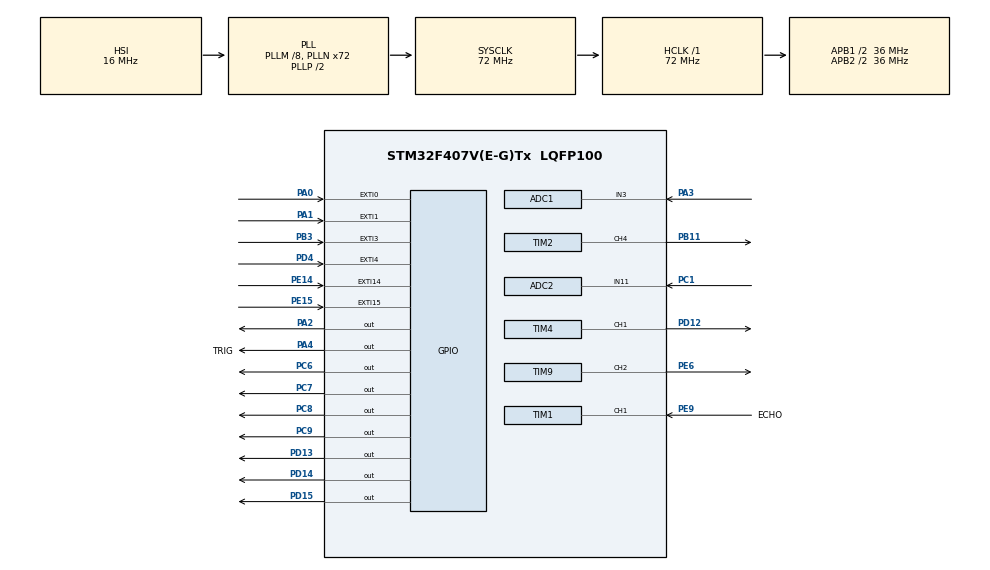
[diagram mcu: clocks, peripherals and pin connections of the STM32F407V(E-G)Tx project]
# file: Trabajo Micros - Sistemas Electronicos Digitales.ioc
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ADC1.Channel-3\#ChannelRegularConversion=ADC_CHANNEL_3
ADC1.NbrOfConversionFlag=1
ADC1.Rank-3\#ChannelRegularConversion=1
ADC1.Resolution=ADC_RESOLUTION_8B
ADC1.SamplingTime-3\#ChannelRegularConversion=ADC_SAMPLETIME_3CYCLES
ADC1.master=1
ADC2.Channel-0\#ChannelRegularConversion=ADC_CHANNEL_11
ADC2.NbrOfConversionFlag=1
ADC2.Rank-0\#ChannelRegularConversion=1
ADC2.Resolution=ADC_RESOLUTION_8B
ADC2.SamplingTime-0\#ChannelRegularConversion=ADC_SAMPLETIME_3CYCLES
Mcu.Family=STM32F4
Mcu.Name=STM32F407V(E-G)Tx
Mcu.Package=LQFP100
NVIC.ADC_IRQn=true\:0\:0\:false\:false\:true\:true\:true
NVIC.EXTI0_IRQn=true\:0\:0\:false\:false\:true\:true\:true
NVIC.EXTI15_10_IRQn=true\:0\:0\:false\:false\:true\:true\:true
NVIC.EXTI1_IRQn=true\:0\:0\:false\:false\:true\:true\:true
NVIC.EXTI3_IRQn=true\:0\:0\:false\:false\:true\:true\:true
NVIC.EXTI4_IRQn=true\:0\:0\:false\:false\:true\:true\:true
NVIC.PriorityGroup=NVIC_PRIORITYGROUP_4
NVIC.TIM1_CC_IRQn=true\:0\:0\:false\:false\:true\:true\:true
PA0-WKUP.Signal=GPXTI0
PA1.Signal=GPXTI1
PA13.Mode=Serial_Wire
PA13.Signal=SYS_JTMS-SWDIO
PA14.Mode=Serial_Wire
PA14.Signal=SYS_JTCK-SWCLK
PA2.Signal=GPIO_Output
PA3.Signal=ADCx_IN3
PA4.GPIO_Label=TRIG
PA4.Signal=GPIO_Output
PA6.Signal=S_TIM3_CH1
PB11.Signal=S_TIM2_CH4
PB3.Signal=GPXTI3
PC1.Signal=ADCx_IN11
PC6.Signal=GPIO_Output
PC7.Signal=GPIO_Output
PC8.Signal=GPIO_Output
PC9.Signal=GPIO_Output
PD12.Signal=S_TIM4_CH1
PD13.Signal=GPIO_Output
PD14.Signal=GPIO_Output
PD15.Signal=GPIO_Output
PD4.Signal=GPXTI4
PE14.Signal=GPXTI14
PE15.Signal=GPXTI15
PE6.Signal=S_TIM9_CH2
PE9.GPIO_Label=ECHO
PE9.Signal=S_TIM1_CH1
PH0-OSC_IN.Mode=HSE-External-Oscillator
PH0-OSC_IN.Signal=RCC_OSC_IN
PH1-OSC_OUT.Mode=HSE-External-Oscillator
PH1-OSC_OUT.Signal=RCC_OSC_OUT
ProjectManager.HeapSize=0x200
ProjectManager.StackSize=0x400
ProjectManager.TargetToolchain=STM32CubeIDE
RCC.48MHZClocksFreq_Value=36000000
RCC.AHBFreq_Value=72000000
RCC.APB1CLKDivider=RCC_HCLK_DIV2
RCC.APB1Freq_Value=36000000
RCC.APB1TimFreq_Value=72000000
RCC.APB2CLKDivider=RCC_HCLK_DIV2
RCC.APB2Freq_Value=36000000
RCC.APB2TimFreq_Value=72000000
RCC.CortexFreq_Value=72000000
RCC.HCLKFreq_Value=72000000
RCC.HSE_VALUE=8000000
RCC.HSI_VALUE=16000000
RCC.LSE_VALUE=32768
RCC.PLLM=8
RCC.PLLN=72
RCC.SYSCLKFreq_VALUE=72000000
RCC.SYSCLKSource=RCC_SYSCLKSOURCE_PLLCLK
RCC.VCOOutputFreq_Value=144000000
SH.ADCx_IN11.0=ADC2_IN11,IN11
SH.ADCx_IN3.0=ADC1_IN3,IN3
SH.S_TIM1_CH1.0=TIM1_CH1,Input_Capture1_from_TI1
SH.S_TIM2_CH4.0=TIM2_CH4,PWM Generation4 CH4
SH.S_TIM3_CH1.0=TIM3_CH1
SH.S_TIM4_CH1.0=TIM4_CH1,PWM Generation1 CH1
SH.S_TIM9_CH2.0=TIM9_CH2,PWM Generation2 CH2
TIM1.AutoReloadPreload=TIM_AUTORELOAD_PRELOAD_ENABLE
TIM1.Channel-Input_Capture1_from_TI1=TIM_CHANNEL_1
TIM1.Prescaler=50
TIM2.Channel-PWM\ Generation4\ CH4=TIM_CHANNEL_4
TIM2.Period=2000
TIM2.Prescaler=72-1
TIM2.Pulse-PWM\ Generation4\ CH4=500
TIM4.Channel-PWM\ Generation1\ CH1=TIM_CHANNEL_1
TIM4.Period=20000
TIM4.Prescaler=72
TIM4.Pulse-PWM\ Generation1\ CH1=500
TIM6.Period=0xffff-1
TIM6.Prescaler=50-1
TIM9.Channel-PWM\ Generation2\ CH2=TIM_CHANNEL_2
TIM9.Period=100-1
TIM9.Prescaler=36-1
VP_TIM2_VS_ClockSourceINT.Mode=Internal
VP_TIM4_VS_ClockSourceINT.Mode=Internal
VP_TIM6_VS_ClockSourceINT.Mode=Enable_Timer
VP_TIM9_VS_ClockSourceINT.Mode=Internal
board=custom

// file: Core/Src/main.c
/* USER CODE BEGIN Header */
/**
  ******************************************************************************
  * @file           : main.c
  * @brief          : Main program body
  ******************************************************************************
  * @attention
  *
  * <h2><center>&copy; Copyright (c) 2021 STMicroelectronics.
  * All rights reserved.</center></h2>
  *
  * This software component is licensed by ST under BSD 3-Clause license,
  * the "License"; You may not use this file except in compliance with the
  * License. You may obtain a copy of the License at:
  *                        opensource.org/licenses/BSD-3-Clause
  *
  ******************************************************************************
  */
/* USER CODE END Header */
#include "main.h"

/* USER CODE BEGIN Includes */
//#include "i2c-lcd.h"
//#include "dht11.h"
#include "stdio.h"
/* USER CODE END Includes */

ADC_HandleTypeDef hadc1;
ADC_HandleTypeDef hadc2;

TIM_HandleTypeDef htim1;
TIM_HandleTypeDef htim2;
TIM_HandleTypeDef htim4;
TIM_HandleTypeDef htim6;
TIM_HandleTypeDef htim9;

/* USER CODE BEGIN PV */
//---------------------------------------------VARIABLES VENTILADOR
volatile int16_t ADC_val;
//--------------------------------------------VARIABLES GARAGE
#define RANGE  11.1   // 2000/180
uint32_t timegarage, waitgarage;
int anglegarage=90 , aperture=0 , sense=0;
float servoinput=0;
volatile int but3=0,but4=0;
volatile int but1=0,but2=0;
int state_light=0;
int mode_light=0;
volatile uint16_t ADC_vali=100;
//--------------------------------------------VARIABLES CAMARA_SEGURIDAD
volatile int flag;
int timer;
int angulo1;
int angulo2;
int t1=0;
int t2=0;
int tiempo_comienzo_interrupcion=0;
int tiempo_final_interrupcion=0;
int tiempo_total_interrupcion=0;
int n=0;
int bit_trabajo=1;
int desactivar_alarma=0;
/* USER CODE END PV */

void SystemClock_Config(void);
static void MX_GPIO_Init(void);
static void MX_TIM6_Init(void);
static void MX_TIM2_Init(void);
static void MX_TIM1_Init(void);
static void MX_TIM4_Init(void);
static void MX_ADC2_Init(void);
static void MX_ADC1_Init(void);
static void MX_TIM9_Init(void);

/* USER CODE BEGIN 0 */

//-------------------------------------------------------INTERRUPCIONES ADC
void HAL_ADC_ConvCpltCallback(ADC_HandleTypeDef* hadc)  //FUNCIONAMIENTO POTENCIOMETRO
{
	if(hadc->Instance == ADC1)
	{
		ADC_val =HAL_ADC_GetValue(&hadc1);
	    //HAL_ADC_Stop_IT(&hadc1);
	}
	if (hadc->Instance == ADC2)
	{
		 ADC_vali = HAL_ADC_GetValue(&hadc2);
	}
}

void Ventilador()
{
	  HAL_ADC_Start_IT(&hadc1);
	  htim9.Instance->CCR2 = (ADC_val*100)/255;
}

//-------------------------------------------------------INTERRUPCIONES BOTONES
void HAL_GPIO_EXTI_Callback(uint16_t GPIO_Pin)
{
	 if(GPIO_Pin == GPIO_PIN_0)
	 {
		 but3=1;
	 }
	 if(GPIO_Pin == GPIO_PIN_1)
	 {
		 but4=1;
	 }
	 if(GPIO_Pin == GPIO_PIN_15)
	 {
	 	but1=1;
	 }
	 if(GPIO_Pin == GPIO_PIN_14)
	 {
	 	but2=1;
	 }
	 if(GPIO_Pin==GPIO_PIN_3)
	 {
		if   (flag == 1) {flag = 0;}
		else             {flag = 1;}
	 }
	 if(GPIO_Pin==GPIO_PIN_4)
	 {
		 desactivar_alarma = 1;
	 }
}

int debouncerbut3(volatile int* button_int, GPIO_TypeDef* GPIO_Port, uint16_t GPIO_number)
{
	static uint8_t button_count = 0;
	static int counter = 0;

	if (*button_int == 1)
	{
		if (button_count == 0)
		{
			counter = HAL_GetTick();
			button_count++;
		}
		if (HAL_GetTick() - counter >= 20)
		{
			counter = HAL_GetTick();
			if (HAL_GPIO_ReadPin(GPIO_Port, GPIO_number) != 1)
			{
				button_count = 1;
			}
			else
				button_count++;
			if (button_count == 4)
			{ //Periodo Antirrebotes
				button_count = 0;
				*button_int = 0;
				return 1;
			}
		}
	}
	return 0;
}

int debouncerbut4(volatile int* button_int, GPIO_TypeDef* GPIO_Port, uint16_t GPIO_number)
{
	static uint8_t button_count = 0;
	static int counter = 0;

	if (*button_int == 1)
	{
		if (button_count == 0)
		{
			counter = HAL_GetTick();
			button_count++;
		}
		if (HAL_GetTick() - counter >= 20)
		{
			counter = HAL_GetTick();
			if (HAL_GPIO_ReadPin(GPIO_Port, GPIO_number) != 1)
			{
				button_count = 1;
			}
			else
				button_count++;
			if (button_count == 4)
			{ //Periodo Antirrebotes
				button_count = 0;
				*button_int = 0;
				return 1;
			}
		}
	}
	return 0;
}

int debouncerbut6(volatile int* button_int, GPIO_TypeDef* GPIO_Port, uint16_t GPIO_number)
{
	static uint8_t button_count = 0;
	static int counter = 0;

	if (*button_int == 1)
	{
		if (button_count == 0)
		{
			counter = HAL_GetTick();
			button_count++;
		}
		if (HAL_GetTick() - counter >= 20)
		{
			counter = HAL_GetTick();
			if (HAL_GPIO_ReadPin(GPIO_Port, GPIO_number) != 1)
			{
				button_count = 1;
			}
			else
				button_count++;
			if (button_count == 4)
			{ //Periodo Antirrebotes
				button_count = 0;
				*button_int = 0;
				return 1;
			}
		}
	}
	return 0;
}

int debouncerbut5(volatile int* button_int, GPIO_TypeDef* GPIO_Port, uint16_t GPIO_number)
{
	static uint8_t button_count = 0;
	static int counter = 0;

	if (*button_int == 1)
	{
		if (button_count == 0)
		{
			counter = HAL_GetTick();
			button_count++;
		}
		if (HAL_GetTick() - counter >= 20)
		{
			counter = HAL_GetTick();
			if (HAL_GPIO_ReadPin(GPIO_Port, GPIO_number) != 1)
			{
				button_count = 1;
			}
			else
				button_count++;
			if (button_count == 4)
			{ //Periodo Antirrebotes
				button_count = 0;
				*button_int = 0;
				return 1;
			}
		}
	}
	return 0;
}

void lightOnOFF(int t)
{
	if(t==1)
	{
		  HAL_GPIO_WritePin(GPIOC,GPIO_PIN_6,1);
		  HAL_GPIO_WritePin(GPIOC,GPIO_PIN_7,1);
		  HAL_GPIO_WritePin(GPIOC,GPIO_PIN_8,1);
		  HAL_GPIO_WritePin(GPIOD,GPIO_PIN_14,1);
	}
	else
	{
		  HAL_GPIO_WritePin(GPIOC,GPIO_PIN_6,0);
		  HAL_GPIO_WritePin(GPIOC,GPIO_PIN_7,0);
		  HAL_GPIO_WritePin(GPIOC,GPIO_PIN_8,0);
		  HAL_GPIO_WritePin(GPIOD,GPIO_PIN_14,0);
	}

}

void LucesExteriores(void)  //FUNCIONAMIENTO LUCES EXTERIORES
{
	 if((debouncerbut6(&but2,GPIOE,GPIO_PIN_14))==1)
	 {
		  if(mode_light==1)
		  {
			  mode_light=0;
			  state_light=0;
	  	  }
		  else
		  {
	  		mode_light=1;
			  lightOnOFF(0); //Aquiiii
		  }
	 }
	 if ((debouncerbut5(&but1,GPIOE,GPIO_PIN_15))==1 && mode_light==0  )
	 {
		  if(state_light==1 && mode_light ==0)
		  { ///AQui
			  state_light=0;
	  	  }
		  else if(state_light==0 && mode_light==0)
		  { //Aqui
	  		state_light=1;
		  }
	  }
	  if(mode_light==1)
	  {
		  HAL_ADC_Start_IT(&hadc2);
		  if (ADC_vali < 20)
		  {
			  lightOnOFF(1);
		  }
		  else
		  {
			  lightOnOFF(0);
		  }
		  HAL_GPIO_WritePin(GPIOD,GPIO_PIN_15,1);
	  }
	  else
	  {
		  HAL_ADC_Stop_IT(&hadc2);
		  HAL_GPIO_WritePin(GPIOD,GPIO_PIN_15,0);
		  if(state_light==1)
			  lightOnOFF(1);
		  else
			  lightOnOFF(0);
	  }
}

void garagecontrol(void)  //FUNCIONAMIENTO GARAGE
{
	 if((debouncerbut3(&but3,GPIOA,GPIO_PIN_0))==1)
	 {
		  if(sense==1 && aperture==1)
		  {
			  sense=0;
	  	  }
		  else if (sense==0 && aperture==1)
		  {
	  		sense=1;
		  }
	 }
	 if ((debouncerbut4(&but4,GPIOA,GPIO_PIN_1))==1)
	 {
		  if(aperture==1)
		  {
			  aperture=0;
			waitgarage=0;//---
	  	  }
		  else
		  {
	  		aperture=1;
		  }
	  }
	  if(anglegarage==0 && sense==0)
	  {
		  if(waitgarage==0 && aperture==1 )//_-
			  waitgarage = HAL_GetTick();
		  else if(HAL_GetTick()-waitgarage >= 10000  &&  aperture==1)
		  {
			sense=1;
			waitgarage=0;
		  }
	  }
	  if((HAL_GetTick()-timegarage )>=20 && aperture==1)
	  {
		  if(anglegarage<90 && sense==1)
		  {
			  anglegarage++;
			  waitgarage=0;
			  timegarage=HAL_GetTick();
		  }
		  else if(anglegarage> 0 && sense==0)
		  {
			  anglegarage--;
			  waitgarage=0;
			  timegarage=HAL_GetTick();
		  }
	  }
	  servoinput = (RANGE*anglegarage)+500;
 	  htim2.Instance->CCR4 = servoinput;
 	  HAL_GPIO_WritePin(GPIOC, GPIO_PIN_9, !aperture);
}

uint32_t IC_Val1 = 0;
uint32_t IC_Val2 = 0;
uint32_t Difference = 0;
uint8_t Is_First_Captured = 0;  // is the first value captured ?
uint8_t Distance  = 100;

void HAL_TIM_IC_CaptureCallback(TIM_HandleTypeDef *htim)  //FUNCION QUE MIDE DISTANCIAS ULTRASONIDOS
{
	if (htim->Channel == HAL_TIM_ACTIVE_CHANNEL_1)  // if the interrupt source is channel1
	{
		if (Is_First_Captured==0) // if the first value is not captured
		{
			IC_Val1 = HAL_TIM_ReadCapturedValue(htim, TIM_CHANNEL_1); // read the first value
			Is_First_Captured = 1;  // set the first captured as true
			// Now change the polarity to falling edge
			__HAL_TIM_SET_CAPTUREPOLARITY(htim, TIM_CHANNEL_1, TIM_INPUTCHANNELPOLARITY_FALLING);
		}

		else if (Is_First_Captured==1)   // if the first is already captured
		{
			IC_Val2 = HAL_TIM_ReadCapturedValue(htim, TIM_CHANNEL_1);  // read second value
			__HAL_TIM_SET_COUNTER(htim, 0);  // reset the counter

			if (IC_Val2 > IC_Val1)
			{
				Difference = IC_Val2-IC_Val1;
			}

			else if (IC_Val1 > IC_Val2)
			{
				Difference = (0xffff - IC_Val1) + IC_Val2;
			}

			Distance = Difference * .034/2;
			Is_First_Captured = 0; // set it back to false

			// set polarity to rising edge
			__HAL_TIM_SET_CAPTUREPOLARITY(htim, TIM_CHANNEL_1, TIM_INPUTCHANNELPOLARITY_RISING);
			__HAL_TIM_DISABLE_IT(&htim1, TIM_IT_CC1);
		}
	}
}

void HCSR04_Read (void)  //FUNCION EMISION ONDA ULTRASONIDO
{
	HAL_GPIO_WritePin(GPIOA, GPIO_PIN_4, GPIO_PIN_SET);  // pull the TRIG pin HIGH
	HAL_Delay(10);  // wait for 10 us
	HAL_GPIO_WritePin(GPIOA, GPIO_PIN_4, GPIO_PIN_RESET);  // pull the TRIG pin low

	__HAL_TIM_ENABLE_IT(&htim1, TIM_IT_CC1);
}

int debouncer(volatile int* button_int, GPIO_TypeDef* GPIO_Port, uint16_t GPIO_number)
{
  static uint8_t button_count = 0;
  static int counter = 0;
  	  if (*button_int == 1)
  	  {
  		  if (button_count == 0)
  		  {
  			  counter = HAL_GetTick();
  			  button_count++;
  		  }
  		  if (HAL_GetTick() - counter >= 20)
  		  {
  			  counter = HAL_GetTick();
  			  if (HAL_GPIO_ReadPin(GPIO_Port, GPIO_number) != 1)
  			  {
  				  button_count = 1;
  			  }
  			  else
  				  button_count++;
  			  if (button_count == 4)
  			  { //Periodo Antirrebotes
  				  button_count = 0;
  				  *button_int = 0;
  				  return 1;
  			  }
  		  }
  	  }
return 0;
}

void CAMARA_SEGURIDAD(void)  //FUNCIONAMIENTO CAMARA SEGURIDAD
{
	//HCSR04_Read();

	if(n<=4000000)
	{
	  if( (HAL_GetTick() - tiempo_total_interrupcion) > n  && (HAL_GetTick() - tiempo_total_interrupcion) < (20000+n) && flag==0 && Distance >=20 )
	  {
		  angulo1=(((HAL_GetTick() - tiempo_total_interrupcion -n) / 10 ) + 500);
		  htim4.Instance->CCR1=angulo1; //0
		  timer=(HAL_GetTick() - tiempo_total_interrupcion);
		  HCSR04_Read();
	  }

	 if(flag==0 && Distance >=20  &&  (HAL_GetTick() - tiempo_total_interrupcion) >= (20000+n) && (HAL_GetTick() - tiempo_total_interrupcion) <= (25000+n) )
	 {
		 HCSR04_Read();
	 }

	 if ( (25000+n) < (HAL_GetTick() - tiempo_total_interrupcion)  && (HAL_GetTick() - tiempo_total_interrupcion) < (45000+n) && Distance >=20  && flag==0)
	 {
		  angulo2=( (  -(HAL_GetTick()) + tiempo_total_interrupcion + n + 50000  ) / 10 );
		  htim4.Instance->CCR1=angulo2;
		  timer=(HAL_GetTick() - tiempo_total_interrupcion);
		  HCSR04_Read();
	 }

	 if(flag==0 && Distance >=20  &&  (HAL_GetTick() - tiempo_total_interrupcion)  >= (45000+n)  &&  (HAL_GetTick() - tiempo_total_interrupcion) <= (50000+n))
	 {
		HCSR04_Read();
		if(flag==0 && Distance >=20  &&    (HAL_GetTick() - tiempo_total_interrupcion)  >= (49900+n)  &&  (HAL_GetTick() - tiempo_total_interrupcion) <= (50000+n))
		{	bit_trabajo=0; }
	 }

	 if (bit_trabajo == 0)
 	 {
 		  n=n+50000;
 		  bit_trabajo=1;
 		  angulo1=0;angulo2=0;
 	 }

	 if(desactivar_alarma==1)
	 {
		  HAL_GPIO_WritePin(GPIOD, GPIO_PIN_13 , 0);
		  desactivar_alarma=0;
	 }

	 if(Distance < 20 || flag==1 )  //INTERRUPCION POR OBSTACULO Y/O CAMARA QUIETA
	 {
	  	  tiempo_comienzo_interrupcion=HAL_GetTick();
	  	  HCSR04_Read();
	  	  if (Distance < 20 )
	  	  {
	  	    	HCSR04_Read();
	  	    	HAL_GPIO_WritePin(GPIOD, GPIO_PIN_13 , 1);
	  	  }
	  	  tiempo_final_interrupcion= HAL_GetTick();
	  	  tiempo_total_interrupcion=  (tiempo_final_interrupcion - tiempo_comienzo_interrupcion) + tiempo_total_interrupcion;
	 }

	}
}
/* USER CODE END 0 */

int main(void)
{

  /* MCU Configuration--------------------------------------------------------*/

  /* Reset of all peripherals, Initializes the Flash interface and the Systick. */
  HAL_Init();

  /* Configure the system clock */
  SystemClock_Config();

  /* Initialize all configured peripherals */
  MX_GPIO_Init();
  MX_TIM6_Init();
  MX_TIM2_Init();
  MX_TIM1_Init();
  MX_TIM4_Init();
  MX_ADC2_Init();
  MX_ADC1_Init();
  MX_TIM9_Init();
  /* USER CODE BEGIN 2 */
  HAL_TIM_Base_Start(&htim6);
  HAL_TIM_PWM_Start (&htim9, TIM_CHANNEL_2);
  HAL_TIM_PWM_Start (&htim2, TIM_CHANNEL_4);
  timegarage = HAL_GetTick();
  HAL_TIM_PWM_Start(&htim4, TIM_CHANNEL_1);
  HAL_TIM_IC_Start_IT(&htim1, TIM_CHANNEL_1);
  /* USER CODE END 2 */

  /* Infinite loop */
  while (1)
  {

    /* USER CODE BEGIN 3 */

	LucesExteriores();
	Ventilador();
	garagecontrol();
	CAMARA_SEGURIDAD();

  }
  /* USER CODE END 3 */
}

void SystemClock_Config(void)
{
  RCC_OscInitTypeDef RCC_OscInitStruct = {0};
  RCC_ClkInitTypeDef RCC_ClkInitStruct = {0};

  /** Configure the main internal regulator output voltage
  */
  __HAL_RCC_PWR_CLK_ENABLE();
  __HAL_PWR_VOLTAGESCALING_CONFIG(PWR_REGULATOR_VOLTAGE_SCALE1);
  /** Initializes the RCC Oscillators according to the specified parameters
  * in the RCC_OscInitTypeDef structure.
  */
  RCC_OscInitStruct.OscillatorType = RCC_OSCILLATORTYPE_HSI;
  RCC_OscInitStruct.HSIState = RCC_HSI_ON;
  RCC_OscInitStruct.HSICalibrationValue = RCC_HSICALIBRATION_DEFAULT;
  RCC_OscInitStruct.PLL.PLLState = RCC_PLL_ON;
  RCC_OscInitStruct.PLL.PLLSource = RCC_PLLSOURCE_HSI;
  RCC_OscInitStruct.PLL.PLLM = 8;
  RCC_OscInitStruct.PLL.PLLN = 72;
  RCC_OscInitStruct.PLL.PLLP = RCC_PLLP_DIV2;
  RCC_OscInitStruct.PLL.PLLQ = 4;
  if (HAL_RCC_OscConfig(&RCC_OscInitStruct) != HAL_OK)
  {
    Error_Handler();
  }
  /** Initializes the CPU, AHB and APB buses clocks
  */
  RCC_ClkInitStruct.ClockType = RCC_CLOCKTYPE_HCLK|RCC_CLOCKTYPE_SYSCLK
                              |RCC_CLOCKTYPE_PCLK1|RCC_CLOCKTYPE_PCLK2;
  RCC_ClkInitStruct.SYSCLKSource = RCC_SYSCLKSOURCE_PLLCLK;
  RCC_ClkInitStruct.AHBCLKDivider = RCC_SYSCLK_DIV1;
  RCC_ClkInitStruct.APB1CLKDivider = RCC_HCLK_DIV2;
  RCC_ClkInitStruct.APB2CLKDivider = RCC_HCLK_DIV2;

  if (HAL_RCC_ClockConfig(&RCC_ClkInitStruct, FLASH_LATENCY_2) != HAL_OK)
  {
    Error_Handler();
  }
}

static void MX_ADC1_Init(void)
{

  ADC_ChannelConfTypeDef sConfig = {0};

  /** Configure the global features of the ADC (Clock, Resolution, Data Alignment and number of conversion)
  */
  hadc1.Instance = ADC1;
  hadc1.Init.ClockPrescaler = ADC_CLOCK_SYNC_PCLK_DIV2;
  hadc1.Init.Resolution = ADC_RESOLUTION_8B;
  hadc1.Init.ScanConvMode = DISABLE;
  hadc1.Init.ContinuousConvMode = DISABLE;
  hadc1.Init.DiscontinuousConvMode = DISABLE;
  hadc1.Init.ExternalTrigConvEdge = ADC_EXTERNALTRIGCONVEDGE_NONE;
  hadc1.Init.ExternalTrigConv = ADC_SOFTWARE_START;
  hadc1.Init.DataAlign = ADC_DATAALIGN_RIGHT;
  hadc1.Init.NbrOfConversion = 1;
  hadc1.Init.DMAContinuousRequests = DISABLE;
  hadc1.Init.EOCSelection = ADC_EOC_SINGLE_CONV;
  if (HAL_ADC_Init(&hadc1) != HAL_OK)
  {
    Error_Handler();
  }
  /** Configure for the selected ADC regular channel its corresponding rank in the sequencer and its sample time.
  */
  sConfig.Channel = ADC_CHANNEL_3;
  sConfig.Rank = 1;
  sConfig.SamplingTime = ADC_SAMPLETIME_3CYCLES;
  if (HAL_ADC_ConfigChannel(&hadc1, &sConfig) != HAL_OK)
  {
    Error_Handler();
  }

}

static void MX_ADC2_Init(void)
{

  ADC_ChannelConfTypeDef sConfig = {0};

  /** Configure the global features of the ADC (Clock, Resolution, Data Alignment and number of conversion)
  */
  hadc2.Instance = ADC2;
  hadc2.Init.ClockPrescaler = ADC_CLOCK_SYNC_PCLK_DIV2;
  hadc2.Init.Resolution = ADC_RESOLUTION_8B;
  hadc2.Init.ScanConvMode = DISABLE;
  hadc2.Init.ContinuousConvMode = DISABLE;
  hadc2.Init.DiscontinuousConvMode = DISABLE;
  hadc2.Init.ExternalTrigConvEdge = ADC_EXTERNALTRIGCONVEDGE_NONE;
  hadc2.Init.ExternalTrigConv = ADC_SOFTWARE_START;
  hadc2.Init.DataAlign = ADC_DATAALIGN_RIGHT;
  hadc2.Init.NbrOfConversion = 1;
  hadc2.Init.DMAContinuousRequests = DISABLE;
  hadc2.Init.EOCSelection = ADC_EOC_SINGLE_CONV;
  if (HAL_ADC_Init(&hadc2) != HAL_OK)
  {
    Error_Handler();
  }
  /** Configure for the selected ADC regular channel its corresponding rank in the sequencer and its sample time.
  */
  sConfig.Channel = ADC_CHANNEL_11;
  sConfig.Rank = 1;
  sConfig.SamplingTime = ADC_SAMPLETIME_3CYCLES;
  if (HAL_ADC_ConfigChannel(&hadc2, &sConfig) != HAL_OK)
  {
    Error_Handler();
  }

}

static void MX_TIM1_Init(void)
{

  TIM_MasterConfigTypeDef sMasterConfig = {0};
  TIM_IC_InitTypeDef sConfigIC = {0};

  htim1.Instance = TIM1;
  htim1.Init.Prescaler = 50;
  htim1.Init.CounterMode = TIM_COUNTERMODE_UP;
  htim1.Init.Period = 65535;
  htim1.Init.ClockDivision = TIM_CLOCKDIVISION_DIV1;
  htim1.Init.RepetitionCounter = 0;
  htim1.Init.AutoReloadPreload = TIM_AUTORELOAD_PRELOAD_ENABLE;
  if (HAL_TIM_IC_Init(&htim1) != HAL_OK)
  {
    Error_Handler();
  }
  sMasterConfig.MasterOutputTrigger = TIM_TRGO_RESET;
  sMasterConfig.MasterSlaveMode = TIM_MASTERSLAVEMODE_DISABLE;
  if (HAL_TIMEx_MasterConfigSynchronization(&htim1, &sMasterConfig) != HAL_OK)
  {
    Error_Handler();
  }
  sConfigIC.ICPolarity = TIM_INPUTCHANNELPOLARITY_RISING;
  sConfigIC.ICSelection = TIM_ICSELECTION_DIRECTTI;
  sConfigIC.ICPrescaler = TIM_ICPSC_DIV1;
  sConfigIC.ICFilter = 0;
  if (HAL_TIM_IC_ConfigChannel(&htim1, &sConfigIC, TIM_CHANNEL_1) != HAL_OK)
  {
    Error_Handler();
  }

}

static void MX_TIM2_Init(void)
{

  TIM_ClockConfigTypeDef sClockSourceConfig = {0};
  TIM_MasterConfigTypeDef sMasterConfig = {0};
  TIM_OC_InitTypeDef sConfigOC = {0};

  htim2.Instance = TIM2;
  htim2.Init.Prescaler = 72-1;
  htim2.Init.CounterMode = TIM_COUNTERMODE_UP;
  htim2.Init.Period = 2000;
  htim2.Init.ClockDivision = TIM_CLOCKDIVISION_DIV1;
  htim2.Init.AutoReloadPreload = TIM_AUTORELOAD_PRELOAD_DISABLE;
  if (HAL_TIM_Base_Init(&htim2) != HAL_OK)
  {
    Error_Handler();
  }
  sClockSourceConfig.ClockSource = TIM_CLOCKSOURCE_INTERNAL;
  if (HAL_TIM_ConfigClockSource(&htim2, &sClockSourceConfig) != HAL_OK)
  {
    Error_Handler();
  }
  if (HAL_TIM_PWM_Init(&htim2) != HAL_OK)
  {
    Error_Handler();
  }
  sMasterConfig.MasterOutputTrigger = TIM_TRGO_RESET;
  sMasterConfig.MasterSlaveMode = TIM_MASTERSLAVEMODE_DISABLE;
  if (HAL_TIMEx_MasterConfigSynchronization(&htim2, &sMasterConfig) != HAL_OK)
  {
    Error_Handler();
  }
  sConfigOC.OCMode = TIM_OCMODE_PWM1;
  sConfigOC.Pulse = 500;
  sConfigOC.OCPolarity = TIM_OCPOLARITY_HIGH;
  sConfigOC.OCFastMode = TIM_OCFAST_DISABLE;
  if (HAL_TIM_PWM_ConfigChannel(&htim2, &sConfigOC, TIM_CHANNEL_4) != HAL_OK)
  {
    Error_Handler();
  }
  HAL_TIM_MspPostInit(&htim2);

}

static void MX_TIM4_Init(void)
{

  TIM_ClockConfigTypeDef sClockSourceConfig = {0};
  TIM_MasterConfigTypeDef sMasterConfig = {0};
  TIM_OC_InitTypeDef sConfigOC = {0};

  htim4.Instance = TIM4;
  htim4.Init.Prescaler = 72;
  htim4.Init.CounterMode = TIM_COUNTERMODE_UP;
  htim4.Init.Period = 20000;
  htim4.Init.ClockDivision = TIM_CLOCKDIVISION_DIV1;
  htim4.Init.AutoReloadPreload = TIM_AUTORELOAD_PRELOAD_DISABLE;
  if (HAL_TIM_Base_Init(&htim4) != HAL_OK)
  {
    Error_Handler();
  }
  sClockSourceConfig.ClockSource = TIM_CLOCKSOURCE_INTERNAL;
  if (HAL_TIM_ConfigClockSource(&htim4, &sClockSourceConfig) != HAL_OK)
  {
    Error_Handler();
  }
  if (HAL_TIM_PWM_Init(&htim4) != HAL_OK)
  {
    Error_Handler();
  }
  sMasterConfig.MasterOutputTrigger = TIM_TRGO_RESET;
  sMasterConfig.MasterSlaveMode = TIM_MASTERSLAVEMODE_DISABLE;
  if (HAL_TIMEx_MasterConfigSynchronization(&htim4, &sMasterConfig) != HAL_OK)
  {
    Error_Handler();
  }
  sConfigOC.OCMode = TIM_OCMODE_PWM1;
  sConfigOC.Pulse = 500;
  sConfigOC.OCPolarity = TIM_OCPOLARITY_HIGH;
  sConfigOC.OCFastMode = TIM_OCFAST_DISABLE;
  if (HAL_TIM_PWM_ConfigChannel(&htim4, &sConfigOC, TIM_CHANNEL_1) != HAL_OK)
  {
    Error_Handler();
  }
  HAL_TIM_MspPostInit(&htim4);

}

static void MX_TIM6_Init(void)
{

  TIM_MasterConfigTypeDef sMasterConfig = {0};

  htim6.Instance = TIM6;
  htim6.Init.Prescaler = 50-1;
  htim6.Init.CounterMode = TIM_COUNTERMODE_UP;
  htim6.Init.Period = 0xffff-1;
  htim6.Init.AutoReloadPreload = TIM_AUTORELOAD_PRELOAD_DISABLE;
  if (HAL_TIM_Base_Init(&htim6) != HAL_OK)
  {
    Error_Handler();
  }
  sMasterConfig.MasterOutputTrigger = TIM_TRGO_RESET;
  sMasterConfig.MasterSlaveMode = TIM_MASTERSLAVEMODE_DISABLE;
  if (HAL_TIMEx_MasterConfigSynchronization(&htim6, &sMasterConfig) != HAL_OK)
  {
    Error_Handler();
  }

}

static void MX_TIM9_Init(void)
{

  TIM_ClockConfigTypeDef sClockSourceConfig = {0};
  TIM_OC_InitTypeDef sConfigOC = {0};

  htim9.Instance = TIM9;
  htim9.Init.Prescaler = 36-1;
  htim9.Init.CounterMode = TIM_COUNTERMODE_UP;
  htim9.Init.Period = 100-1;
  htim9.Init.ClockDivision = TIM_CLOCKDIVISION_DIV1;
  htim9.Init.AutoReloadPreload = TIM_AUTORELOAD_PRELOAD_DISABLE;
  if (HAL_TIM_Base_Init(&htim9) != HAL_OK)
  {
    Error_Handler();
  }
  sClockSourceConfig.ClockSource = TIM_CLOCKSOURCE_INTERNAL;
  if (HAL_TIM_ConfigClockSource(&htim9, &sClockSourceConfig) != HAL_OK)
  {
    Error_Handler();
  }
  if (HAL_TIM_PWM_Init(&htim9) != HAL_OK)
  {
    Error_Handler();
  }
  sConfigOC.OCMode = TIM_OCMODE_PWM1;
  sConfigOC.Pulse = 0;
  sConfigOC.OCPolarity = TIM_OCPOLARITY_HIGH;
  sConfigOC.OCFastMode = TIM_OCFAST_DISABLE;
  if (HAL_TIM_PWM_ConfigChannel(&htim9, &sConfigOC, TIM_CHANNEL_2) != HAL_OK)
  {
    Error_Handler();
  }
  HAL_TIM_MspPostInit(&htim9);

}

static void MX_GPIO_Init(void)
{
  GPIO_InitTypeDef GPIO_InitStruct = {0};

  /* GPIO Ports Clock Enable */
  __HAL_RCC_GPIOE_CLK_ENABLE();
  __HAL_RCC_GPIOH_CLK_ENABLE();
  __HAL_RCC_GPIOC_CLK_ENABLE();
  __HAL_RCC_GPIOA_CLK_ENABLE();
  __HAL_RCC_GPIOB_CLK_ENABLE();
  __HAL_RCC_GPIOD_CLK_ENABLE();

  /*Configure GPIO pin Output Level */
  HAL_GPIO_WritePin(GPIOA, GPIO_PIN_2|TRIG_Pin, GPIO_PIN_RESET);

  /*Configure GPIO pin Output Level */
  HAL_GPIO_WritePin(GPIOD, GPIO_PIN_13|GPIO_PIN_14|GPIO_PIN_15, GPIO_PIN_RESET);

  /*Configure GPIO pin Output Level */
  HAL_GPIO_WritePin(GPIOC, GPIO_PIN_6|GPIO_PIN_7|GPIO_PIN_8|GPIO_PIN_9, GPIO_PIN_RESET);

  /*Configure GPIO pins : PA0 PA1 */
  GPIO_InitStruct.Pin = GPIO_PIN_0|GPIO_PIN_1;
  GPIO_InitStruct.Mode = GPIO_MODE_IT_RISING;
  GPIO_InitStruct.Pull = GPIO_NOPULL;
  HAL_GPIO_Init(GPIOA, &GPIO_InitStruct);

  /*Configure GPIO pins : PA2 TRIG_Pin */
  GPIO_InitStruct.Pin = GPIO_PIN_2|TRIG_Pin;
  GPIO_InitStruct.Mode = GPIO_MODE_OUTPUT_PP;
  GPIO_InitStruct.Pull = GPIO_NOPULL;
  GPIO_InitStruct.Speed = GPIO_SPEED_FREQ_LOW;
  HAL_GPIO_Init(GPIOA, &GPIO_InitStruct);

  /*Configure GPIO pin : PA6 */
  GPIO_InitStruct.Pin = GPIO_PIN_6;
  GPIO_InitStruct.Mode = GPIO_MODE_AF_PP;
  GPIO_InitStruct.Pull = GPIO_NOPULL;
  GPIO_InitStruct.Speed = GPIO_SPEED_FREQ_LOW;
  GPIO_InitStruct.Alternate = GPIO_AF2_TIM3;
  HAL_GPIO_Init(GPIOA, &GPIO_InitStruct);

  /*Configure GPIO pins : PE14 PE15 */
  GPIO_InitStruct.Pin = GPIO_PIN_14|GPIO_PIN_15;
  GPIO_InitStruct.Mode = GPIO_MODE_IT_RISING;
  GPIO_InitStruct.Pull = GPIO_NOPULL;
  HAL_GPIO_Init(GPIOE, &GPIO_InitStruct);

  /*Configure GPIO pins : PD13 PD14 PD15 */
  GPIO_InitStruct.Pin = GPIO_PIN_13|GPIO_PIN_14|GPIO_PIN_15;
  GPIO_InitStruct.Mode = GPIO_MODE_OUTPUT_PP;
  GPIO_InitStruct.Pull = GPIO_NOPULL;
  GPIO_InitStruct.Speed = GPIO_SPEED_FREQ_LOW;
  HAL_GPIO_Init(GPIOD, &GPIO_InitStruct);

  /*Configure GPIO pins : PC6 PC7 PC8 PC9 */
  GPIO_InitStruct.Pin = GPIO_PIN_6|GPIO_PIN_7|GPIO_PIN_8|GPIO_PIN_9;
  GPIO_InitStruct.Mode = GPIO_MODE_OUTPUT_PP;
  GPIO_InitStruct.Pull = GPIO_NOPULL;
  GPIO_InitStruct.Speed = GPIO_SPEED_FREQ_LOW;
  HAL_GPIO_Init(GPIOC, &GPIO_InitStruct);

  /*Configure GPIO pin : PD4 */
  GPIO_InitStruct.Pin = GPIO_PIN_4;
  GPIO_InitStruct.Mode = GPIO_MODE_IT_RISING;
  GPIO_InitStruct.Pull = GPIO_NOPULL;
  HAL_GPIO_Init(GPIOD, &GPIO_InitStruct);

  /*Configure GPIO pin : PB3 */
  GPIO_InitStruct.Pin = GPIO_PIN_3;
  GPIO_InitStruct.Mode = GPIO_MODE_IT_RISING;
  GPIO_InitStruct.Pull = GPIO_NOPULL;
  HAL_GPIO_Init(GPIOB, &GPIO_InitStruct);

  /* EXTI interrupt init*/
  HAL_NVIC_SetPriority(EXTI0_IRQn, 0, 0);
  HAL_NVIC_EnableIRQ(EXTI0_IRQn);

  HAL_NVIC_SetPriority(EXTI1_IRQn, 0, 0);
  HAL_NVIC_EnableIRQ(EXTI1_IRQn);

  HAL_NVIC_SetPriority(EXTI3_IRQn, 0, 0);
  HAL_NVIC_EnableIRQ(EXTI3_IRQn);

  HAL_NVIC_SetPriority(EXTI4_IRQn, 0, 0);
  HAL_NVIC_EnableIRQ(EXTI4_IRQn);

  HAL_NVIC_SetPriority(EXTI15_10_IRQn, 0, 0);
  HAL_NVIC_EnableIRQ(EXTI15_10_IRQn);

}

void Error_Handler(void)
{
  __disable_irq();
  while (1)
  {
  }
}

/************************ (C) COPYRIGHT STMicroelectronics *****END OF FILE****/
